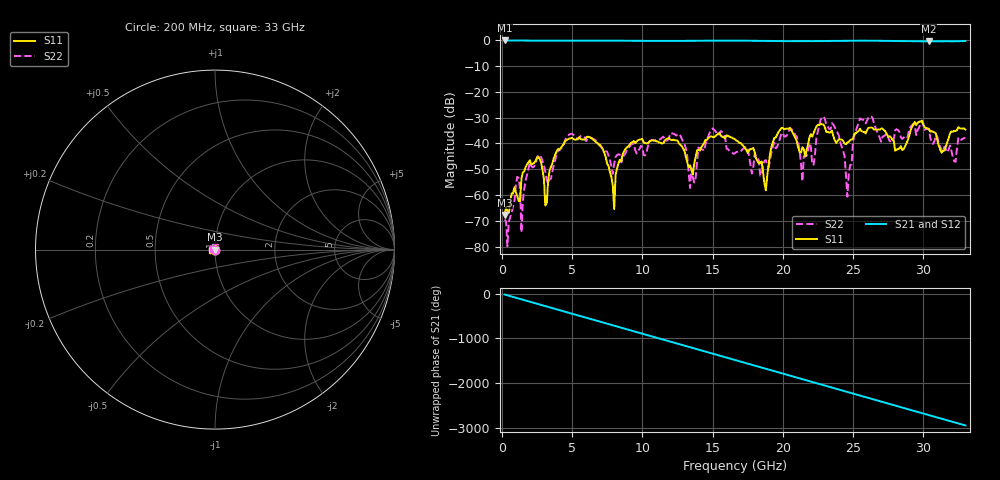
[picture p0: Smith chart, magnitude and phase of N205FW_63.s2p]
# GHZ S RI R 50
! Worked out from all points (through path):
!   329 points, 200 MHz to 33 GHz, reference 50 ohm
!   highest |S21| = -0.02 dB at 200 MHz (marker M1); lowest = -0.4 dB at 30.4 GHz (marker M2)
!   group delay of S21, straight-line fit = 248 ps
!   lowest |S11| = -67.8 dB at 200 MHz (marker M3), VSWR 1.00, Z = 50 + j0.0062 ohm
!   |S11| at or under -10 dB: start of sweep to end of sweep
!   |S22| runs from -79.8 to -29.5 dB; largest |S21 - S12| = 0.0022
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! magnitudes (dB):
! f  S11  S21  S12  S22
! 200 MHz  -67.8  0.0  0.0  -69.5
! 1.4 GHz  -53.5  -0.1  -0.1  -74.5
! 2 GHz  -46.5  -0.1  -0.1  -47.3
! 5.7 GHz  -38.5  -0.1  -0.1  -37.1
! 7.2 GHz  -42.3  -0.1  -0.1  -42.2
! 8 GHz  -65.4  -0.1  -0.1  -47.9
! 8.8 GHz  -42.2  -0.1  -0.1  -43.8
! 11.2 GHz  -39.6  -0.2  -0.2  -38.5
! 12.7 GHz  -40.5  -0.2  -0.2  -36.9
! 13.4 GHz  -48.5  -0.2  -0.2  -57.3
! 15 GHz  -37.5  -0.1  -0.1  -34.1
! 16.6 GHz  -38.3  -0.1  -0.1  -43.8
! 18.8 GHz  -58.2  -0.2  -0.2  -46.5
! 19.9 GHz  -34.0  -0.3  -0.3  -36.1
! 22.1 GHz  -37.3  -0.3  -0.3  -48.2
! 22.9 GHz  -32.6  -0.3  -0.2  -29.5
! 24 GHz  -38.3  -0.2  -0.2  -37.0
! 24.6 GHz  -39.6  -0.1  -0.1  -60.6
! 25.5 GHz  -34.3  -0.1  -0.1  -30.2
! 27.6 GHz  -37.2  -0.2  -0.2  -39.1
! 30.4 GHz  -34.3  -0.4  -0.4  -34.3
! 33 GHz  -34.6  -0.2  -0.2  -37.8
